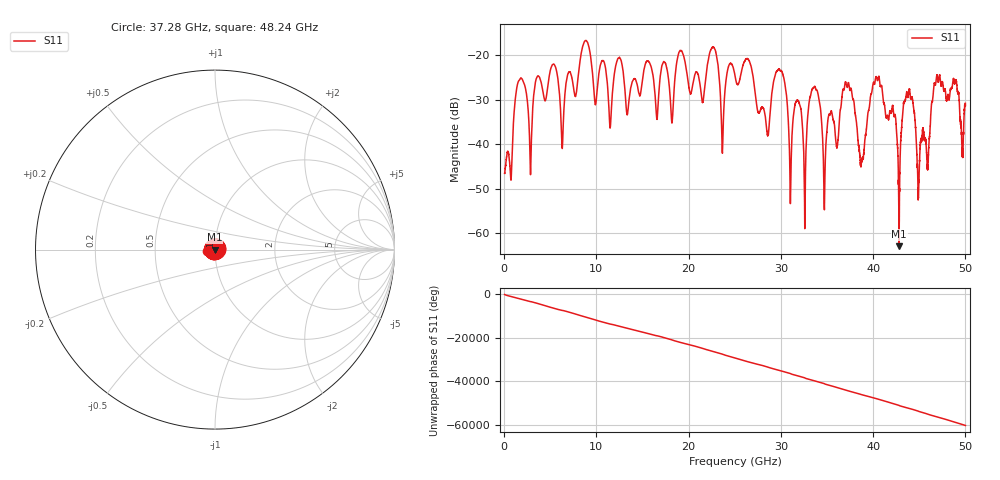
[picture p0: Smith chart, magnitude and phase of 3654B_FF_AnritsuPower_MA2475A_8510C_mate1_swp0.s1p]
!Created with skrf (http://scikit-rf.org).
# Hz S RI R 50.0
!freq ReS11 ImS11
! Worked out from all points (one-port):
!   10001 points, 45 MHz to 50 GHz, reference 50 ohm
!   lowest |S11| = -63.0 dB at 42.82 GHz (marker M1), VSWR 1.00, Z = 50 - j0.0658 ohm
!   |S11| at or under -10 dB: start of sweep to end of sweep
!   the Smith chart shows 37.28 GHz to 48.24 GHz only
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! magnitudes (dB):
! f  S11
! 45 MHz  -46.6
! 1.718 GHz  -25.3
! 2.847 GHz  -46.6
! 5.41 GHz  -22.0
! 6.289 GHz  -41.0
! 8.742 GHz  -16.8
! 11.49 GHz  -36.4
! 12.53 GHz  -20.6
! 18.17 GHz  -35.2
! 18.78 GHz  -20.7
! 22.74 GHz  -18.3
! 23.67 GHz  -41.8
! 25.02 GHz  -24.6
! 28.55 GHz  -38.0
! 29.96 GHz  -23.5
! 31.27 GHz  -35.8
! 31.94 GHz  -30.5
! 32.62 GHz  -54.4
! 33.72 GHz  -27.3
! 34.75 GHz  -50.2
! 37.51 GHz  -27.8
! 38.76 GHz  -43.9
! 40.5 GHz  -25.5
! 42.82 GHz  -63.0
! 43.76 GHz  -29.5
! 44.92 GHz  -51.7
! 47.02 GHz  -25.7
! 50 GHz  -30.8
